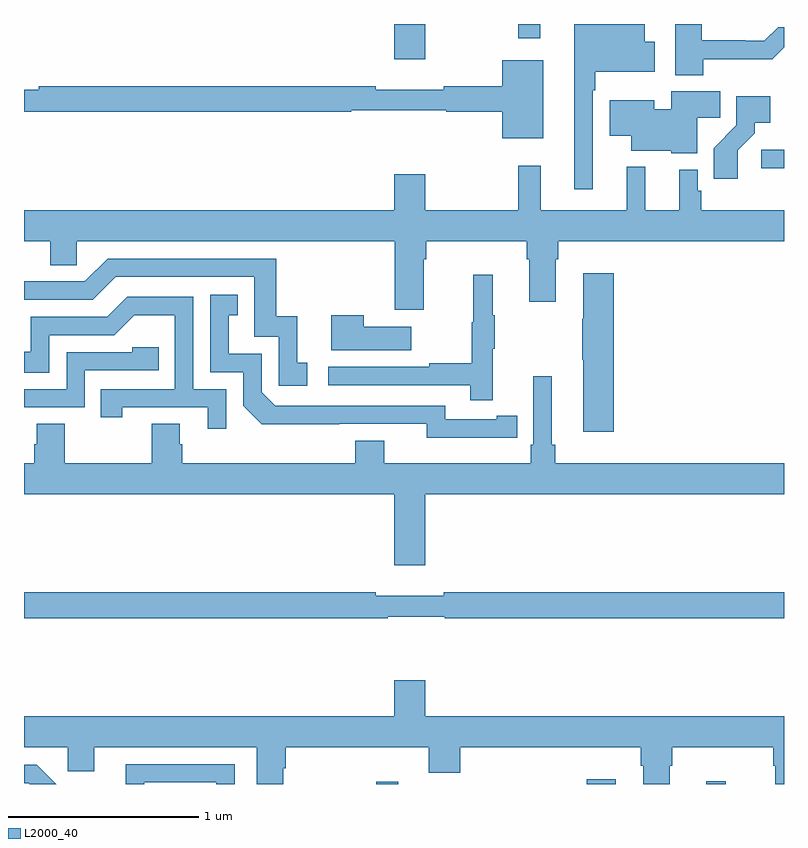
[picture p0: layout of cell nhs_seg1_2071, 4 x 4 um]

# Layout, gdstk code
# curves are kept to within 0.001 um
import gdstk
lib = gdstk.Library(unit=1e-6, precision=1e-09)
def R(c, l, rs):  # rectangles x0, y0, x1, y1
    for r in rs: c.add(gdstk.rectangle(r[:2], r[2:], *l))
def P(c, l, *ps):  # polygons
    for p in ps: c.add(gdstk.Polygon(p, *l))
L2000_40 = (2000, 40)

nhs_seg1_2071 = lib.new_cell('nhs_seg1_2071')
R(nhs_seg1_2071, L2000_40, [(224.855,558.199,224.97,558.211), (225.961,558.199,226.114,558.223), (226.592,558.199,226.694,558.214), (226.881,561.439,227,561.537), (224.948,562.014,225.112,562.199), (225.601,562.125,225.718,562.199), (226.703,562.198,226.842,562.199)])
P(nhs_seg1_2071, L2000_40, [(225.993,561.851),(226.006,561.851),(226.006,561.947),(226.321,561.947),(226.321,562.105),(226.267,562.105),(226.267,562.199),(225.896,562.199),(225.896,561.33),(225.993,561.33)],
  [(226.575,562.014),(226.937,562.013),(227,562.076),(227,562.183),(226.969,562.183),(226.896,562.11),(226.796,562.11),(226.796,562.113),(226.567,562.113),(226.567,562.199),(226.427,562.199),(226.427,561.929),(226.575,561.929)],
  [(225.733,562.009),(225.518,562.009),(225.518,561.872),(225.208,561.872),(225.208,561.853),(224.852,561.853),(224.852,561.872),(223.078,561.872),(223.078,561.853),(223,561.853),(223,561.736),(224.722,561.736),(224.722,561.744),(225.222,561.744),(225.222,561.736),(225.518,561.736),(225.518,561.599),(225.733,561.599)],
  [(226.543,561.706),(226.664,561.706),(226.664,561.844),(226.406,561.844),(226.406,561.751),(226.318,561.751),(226.318,561.799),(226.082,561.799),(226.082,561.611),(226.196,561.611),(226.196,561.533),(226.406,561.533),(226.406,561.518),(226.543,561.518)],
  [(226.756,561.535),(226.846,561.625),(226.846,561.68),(226.927,561.68),(226.927,561.82),(226.749,561.82),(226.749,561.665),(226.63,561.546),(226.63,561.384),(226.756,561.384)],
  [(226.448,561.433),(226.448,561.22),(226.271,561.22),(226.271,561.448),(226.172,561.448),(226.172,561.22),(225.719,561.22),(225.719,561.454),(225.601,561.454),(225.601,561.22),(225.112,561.22),(225.112,561.409),(224.948,561.409),(224.948,561.22),(223,561.22),(223,561.056),(223.139,561.056),(223.139,560.929),(223.278,560.929),(223.278,561.056),(224.951,561.056),(224.951,560.694),(225.103,560.694),(225.103,560.96),(225.116,560.96),(225.116,561.056),(225.647,561.056),(225.647,560.96),(225.659,560.96),(225.659,560.736),(225.799,560.736),(225.799,560.96),(225.812,560.96),(225.812,561.056),(227,561.056),(227,561.22),(226.565,561.22),(226.565,561.321),(226.545,561.321),(226.545,561.433)],
  [(224.491,560.415),(224.438,560.415),(224.438,560.662),(224.327,560.662),(224.327,560.964),(223.44,560.964),(223.32,560.844),(223,560.844),(223,560.748),(223.362,560.748),(223.482,560.868),(224.211,560.868),(224.211,560.553),(224.34,560.553),(224.34,560.295),(224.491,560.295)],
  [(226.103,560.887),(225.944,560.887),(225.944,560.648),(225.937,560.648),(225.937,560.431),(225.944,560.431),(225.944,560.052),(226.103,560.052)],
  [(225.467,560.491),(225.478,560.491),(225.478,560.665),(225.467,560.665),(225.467,560.878),(225.364,560.878),(225.364,560.628),(225.357,560.628),(225.357,560.414),(225.133,560.414),(225.133,560.394),(224.601,560.394),(224.601,560.298),(225.349,560.298),(225.349,560.22),(225.467,560.22)],
  [(225.488,560.022),(225.596,560.022),(225.596,560.138),(225.488,560.138),(225.488,560.118),(225.216,560.118),(225.216,560.19),(224.322,560.19),(224.25,560.262),(224.25,560.463),(224.077,560.463),(224.077,560.667),(224.126,560.667),(224.126,560.773),(223.98,560.773),(223.98,560.367),(224.154,560.367),(224.154,560.19),(224.252,560.093),(225.12,560.094),(225.12,560.021)],
  [(224.064,560.277),(223.89,560.277),(223.89,560.763),(223.544,560.763),(223.439,560.658),(223.036,560.658),(223.036,560.473),(223,560.473),(223,560.364),(223.134,560.364),(223.134,560.562),(223.476,560.562),(223.58,560.666),(223.794,560.666),(223.794,560.277),(223.405,560.277),(223.405,560.13),(223.516,560.13),(223.516,560.181),(223.967,560.181),(223.967,560.07),(224.064,560.07)],
  [(225.037,560.605),(224.789,560.605),(224.789,560.665),(224.618,560.665),(224.618,560.483),(225.037,560.483)],
  [(223.32,560.376),(223.709,560.376),(223.709,560.499),(223.569,560.499),(223.569,560.472),(223.224,560.472),(223.224,560.277),(223,560.277),(223,560.181),(223.32,560.181)],
  [(225.112,559.724),(227,559.724),(227,559.888),(225.797,559.888),(225.797,559.984),(225.778,559.984),(225.778,560.344),(225.681,560.344),(225.681,559.984),(225.668,559.984),(225.668,559.888),(224.896,559.888),(224.896,560.005),(224.744,560.005),(224.744,559.888),(223.832,559.888),(223.832,559.986),(223.819,559.986),(223.819,560.096),(223.672,560.096),(223.672,559.888),(223.215,559.888),(223.215,560.096),(223.067,560.096),(223.067,559.986),(223.055,559.986),(223.055,559.888),(223,559.888),(223,559.724),(224.948,559.724),(224.948,559.35),(225.112,559.35)],
  [(224.914,559.08),(225.214,559.08),(225.214,559.072),(227,559.072),(227,559.208),(225.208,559.208),(225.208,559.189),(224.852,559.189),(224.852,559.208),(223,559.208),(223,559.072),(224.914,559.072)],
  [(224.364,558.283),(224.378,558.283),(224.378,558.392),(225.131,558.392),(225.131,558.259),(225.296,558.259),(225.296,558.392),(226.247,558.392),(226.247,558.296),(226.259,558.296),(226.259,558.199),(226.399,558.199),(226.399,558.296),(226.412,558.296),(226.412,558.392),(226.943,558.392),(226.943,558.296),(226.955,558.296),(226.955,558.199),(227,558.199),(227,558.556),(225.112,558.556),(225.112,558.745),(224.948,558.745),(224.948,558.556),(223,558.556),(223,558.392),(223.23,558.392),(223.23,558.265),(223.369,558.265),(223.369,558.392),(224.225,558.392),(224.225,558.199),(224.364,558.199)],
  [(223.632,558.207),(224.013,558.207),(224.013,558.199),(224.109,558.199),(224.109,558.303),(223.535,558.303),(223.535,558.199),(223.632,558.199)],
  [(223.068,558.3),(223,558.3),(223,558.204),(223.026,558.204),(223.031,558.199),(223.169,558.199)])

lib.write_gds('nhs_seg1_2071.gds')
